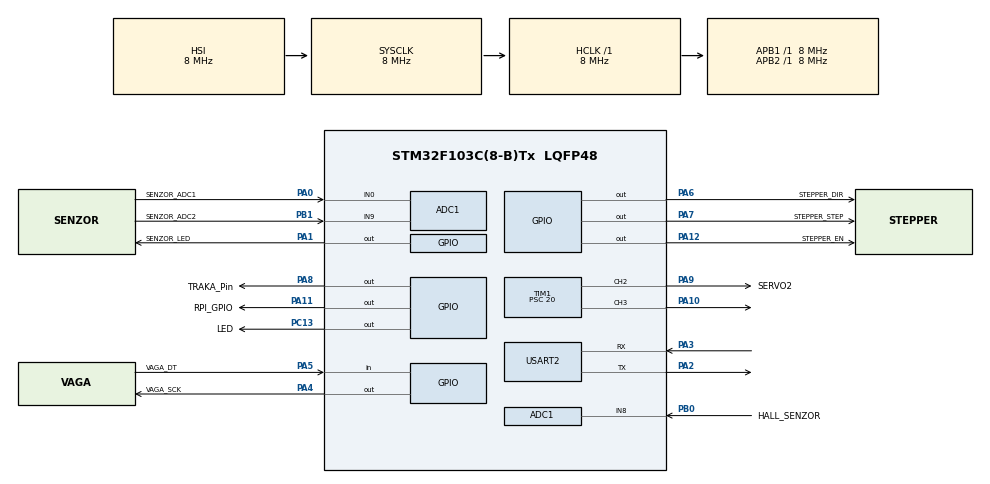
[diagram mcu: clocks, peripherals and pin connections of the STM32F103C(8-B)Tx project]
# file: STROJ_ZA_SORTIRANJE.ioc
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ADC1.Channel-0\#ChannelRegularConversion=ADC_CHANNEL_0
ADC1.Channel-1\#ChannelRegularConversion=ADC_CHANNEL_8
ADC1.Channel-2\#ChannelRegularConversion=ADC_CHANNEL_9
ADC1.ContinuousConvMode=ENABLE
ADC1.NbrOfConversion=3
ADC1.NbrOfConversionFlag=1
ADC1.Rank-0\#ChannelRegularConversion=1
ADC1.Rank-1\#ChannelRegularConversion=2
ADC1.Rank-2\#ChannelRegularConversion=3
ADC1.SamplingTime-0\#ChannelRegularConversion=ADC_SAMPLETIME_1CYCLE_5
ADC1.SamplingTime-1\#ChannelRegularConversion=ADC_SAMPLETIME_1CYCLE_5
ADC1.SamplingTime-2\#ChannelRegularConversion=ADC_SAMPLETIME_1CYCLE_5
ADC1.master=1
Mcu.Family=STM32F1
Mcu.Name=STM32F103C(8-B)Tx
Mcu.Package=LQFP48
NVIC.PriorityGroup=NVIC_PRIORITYGROUP_4
NVIC.USART2_IRQn=true\:0\:0\:false\:false\:true\:true\:true
PA0-WKUP.GPIO_Label=SENZOR_ADC1
PA0-WKUP.Signal=ADCx_IN0
PA1.GPIO_Label=SENZOR_LED
PA1.Signal=GPIO_Output
PA10.Signal=S_TIM1_CH3
PA11.GPIO_Label=RPI_GPIO
PA11.Signal=GPIO_Output
PA12.GPIO_Label=STEPPER_EN
PA12.Signal=GPIO_Output
PA13.Mode=Serial_Wire
PA13.Signal=SYS_JTMS-SWDIO
PA14.Mode=Serial_Wire
PA14.Signal=SYS_JTCK-SWCLK
PA2.Mode=Asynchronous
PA2.Signal=USART2_TX
PA3.Mode=Asynchronous
PA3.Signal=USART2_RX
PA4.GPIO_Label=VAGA_SCK
PA4.Signal=GPIO_Output
PA5.GPIO_Label=VAGA_DT
PA5.GPIO_PuPd=GPIO_NOPULL
PA5.Signal=GPIO_Input
PA6.GPIO_Label=STEPPER_DIR
PA6.Signal=GPIO_Output
PA7.GPIO_Label=STEPPER_STEP
PA7.Signal=GPIO_Output
PA8.GPIO_Label=TRAKA_Pin
PA8.Signal=GPIO_Output
PA9.GPIO_Label=SERVO2
PA9.GPIO_Speed=GPIO_SPEED_FREQ_HIGH
PA9.Signal=S_TIM1_CH2
PB0.GPIO_Label=HALL_SENZOR
PB0.Signal=ADCx_IN8
PB1.GPIO_Label=SENZOR_ADC2
PB1.Signal=ADCx_IN9
PC13-TAMPER-RTC.GPIO_Label=LED
PC13-TAMPER-RTC.Signal=GPIO_Output
ProjectManager.HeapSize=0x200
ProjectManager.StackSize=0x400
ProjectManager.TargetToolchain=TrueSTUDIO
RCC.AHBFreq_Value=8000000
RCC.APB1Freq_Value=8000000
RCC.APB1TimFreq_Value=8000000
RCC.APB2Freq_Value=8000000
RCC.APB2TimFreq_Value=8000000
RCC.HCLKFreq_Value=8000000
RCC.SYSCLKFreq_VALUE=8000000
RCC.USBFreq_Value=8000000
SH.ADCx_IN0.0=ADC1_IN0,IN0
SH.ADCx_IN8.0=ADC1_IN8,IN8
SH.ADCx_IN9.0=ADC1_IN9,IN9
SH.S_TIM1_CH2.0=TIM1_CH2,PWM Generation2 CH2
SH.S_TIM1_CH3.0=TIM1_CH3,PWM Generation3 CH3
TIM1.AutoReloadPreload=TIM_AUTORELOAD_PRELOAD_DISABLE
TIM1.Channel-PWM\ Generation2\ CH2=TIM_CHANNEL_2
TIM1.Channel-PWM\ Generation3\ CH3=TIM_CHANNEL_3
TIM1.Period=7656
TIM1.Prescaler=20
USART2.VirtualMode=VM_ASYNC
VP_TIM1_VS_ClockSourceINT.Mode=Internal
board=custom

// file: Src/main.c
/* USER CODE BEGIN Header */
/**
 ******************************************************************************
 * @file           : main.c
 * @brief          : Main program body
 ******************************************************************************
 * @attention
 *
 * <h2><center>&copy; Copyright (c) 2019 STMicroelectronics.
 * All rights reserved.</center></h2>
 *
 * This software component is licensed by ST under BSD 3-Clause license,
 * the "License"; You may not use this file except in compliance with the
 * License. You may obtain a copy of the License at:
 *                        opensource.org/licenses/BSD-3-Clause
 *
 ******************************************************************************
 */
/* USER CODE END Header */

#include "main.h"

/* USER CODE BEGIN Includes */

/* za printf */
#ifdef __GNUC__
#define PUTCHAR_PROTOTYPE int __io_putchar(int ch)
#else
#define PUTCHAR_PROTOTYPE int fputc(int ch,FILE *f)
#endif

/* USER CODE END Includes */

/* USER CODE BEGIN PD */
#define PRVI_SENZOR 3800 //vrijednost kada ima predmeta ispred senzora( kada nema onda je manja vrijednost)( razlika ima-nema oko 300)
#define DRUGI_SENZOR 3800  //vrijednost kada ima predmeta ispred drugog senzora(veca razlika ima nema)
//da bi provjerili jel ima predmet uvjet je da je adc_vrijednost veca od pragova

//driver je u half step modu pa teba 2 puta više koraka za krug ==>>2*200=400 koraka
#define BROJ_KORAKAK_ZA_KRUG 400  //definiramo koliko stepper motor mora napraviti koraka da bi obišao jedan krug
/* USER CODE END PD */

ADC_HandleTypeDef hadc1;

TIM_HandleTypeDef htim1;

UART_HandleTypeDef huart2;

/* USER CODE BEGIN PV */
volatile uint8_t rx_buff[32];
uint8_t tx_buff[2];
volatile uint8_t msg_protocol[32];
volatile uint8_t det_obj_buff[3];
volatile uint8_t sys_flag = 0;
volatile uint8_t sys_flag_changed = 0;

//varijable za senzore na traci i hall senzor za spremnike
//val1 je senzor na kraju trake( kod motora) i on je na ADC1_CH0 pin PA0
//val2 je senzor na pocetku i on je spojen na ADC1_CH9 pin PB1
//hall senzor je spojen na ADC1_CH8 pin PB0
uint32_t val1, val2, hall_val;

//faktor za vagu koji treba podesiti da bi dobro vagala( za svaki load cell drugaciji)
float calibration_factor = -900;
long OFFSET = 0;
float SCALE = 1;
int stepperPosition = 0;

struct Osobine {
	char oblik;
	char boja;
	int masa;
	int min_masa;
	int max_masa;
	int broj_poklapanja;
	int broj_omogucenih;
};

struct Osobine Predmet;
struct Osobine Spremnik[3];

//enum za pwm signal
typedef enum {
	PWM1 = TIM_CHANNEL_1,
	PWM2 = TIM_CHANNEL_2,
	PWM3 = TIM_CHANNEL_3,
	PWM4 = TIM_CHANNEL_4,

} PWM_CHANNEL;

/* USER CODE END PV */

void SystemClock_Config(void);
static void MX_GPIO_Init(void);
static void MX_ADC1_Init(void);
static void MX_TIM1_Init(void);
static void MX_USART2_UART_Init(void);
/* USER CODE BEGIN PFP */

//funkcija za parsiranje podataka za spremnike
void Parse_spremnik();

//funkcija za parsiranje podataka o slikanom predmetu
void Parse_predmet();

int CharToInt3(int n, uint8_t* Polje);
int CharToInt4(int n, uint8_t* Polje);

/*prototip funkcije za analizu predmeta
 *funkcija prema definiranim osobinama spremnika i predmeta sprema u varijablu odabrani_spremnik
 *prema cemu se poklapa svaki spremnik sa trenutnim predmetom(boja, masa i oblik)
 *i onda samo treba vidjeti u toj varijabli koji spremnik ima najviše poklapanja i staviti predmet u njega
 */
void Analiza_predmeta(void);

//funkcija koja ovisno o tome koji spremnik ima najviše ispunjenih uvjeta odabire jedan spremnik za trenutni predmet
int Odabir_spremnika(void);

/*funkcije za vagu*/
int HX711_read(void);
long HX711_read_average(int times);
double HX711_get_value(int times);
float HX711_get_units(int times);
void HX711_set_offset(long offset);
void HX711_set_scale(float scale);
void HX711_Tare(int times);

/*funkcije za stepper motor*/
void Stepper_Step(int step, int dir);

//funkcija za servo motor, timer je za koji timer postavljamo pwm, a kut je kut motora
void Servo_motor(PWM_CHANNEL PWM_CH, int kut);
//funkcija koja pomice predmet iz cijevi na vagu.
void Pomakni_na_vagu(void);
//gurne predmet sa vage u spremnik
void Makni_sa_vage(void);
//funkcija koja postavlja spremnik koji joj predamo kao argument
void Postavi_spremnik(int spremnik);

//funkcija koja namje�ta spremnik na prvu posudu
void Spremnik_zero(void);

uint32_t analogRead(uint8_t channel);

/* USER CODE END PFP */

int main(void) {

	/* MCU Configuration--------------------------------------------------------*/

	/* Reset of all peripherals, Initializes the Flash interface and the Systick. */
	HAL_Init();

	/* Configure the system clock */
	SystemClock_Config();

	/* Initialize all configured peripherals */
	MX_GPIO_Init();
	MX_ADC1_Init();
	MX_TIM1_Init();
	MX_USART2_UART_Init();
	/* USER CODE BEGIN 2 */
	__HAL_UART_ENABLE_IT(&huart2, UART_IT_RXNE); // <-------- ENABLE RXNE

	HX711_set_scale(1);
	HX711_Tare(10);
	HX711_set_scale(calibration_factor);

	//kod za pokretanje TIM1 i PWM signala
	HAL_TIM_Base_Start(&htim1);
	HAL_TIM_PWM_Start(&htim1, TIM_CHANNEL_2); //Start Pwm signal on PA-9 Pin
	HAL_TIM_PWM_Start(&htim1, TIM_CHANNEL_3); //Start Pwm signal on PA-10 Pin

	//postavljamo servo motore na pozicije u kojima miruju
	Servo_motor(PWM2, 0);
	Servo_motor(PWM3, 50);

	HAL_GPIO_WritePin(GPIOC, LED_Pin, SET);
	HAL_GPIO_WritePin(GPIOA, STEPPER_EN_Pin, SET);
	sys_flag = 0;
	//printf("POCETAK WHILE PETLJE\n\n");
	/* USER CODE END 2 */

	/* Infinite loop */
	/* USER CODE BEGIN WHILE */
	while (1) {

		//glavni kod
		if (sys_flag_changed) {
			Spremnik_zero();
			Parse_spremnik();
			sys_flag_changed = 0;
			HAL_GPIO_WritePin(GPIOA, SENZOR_LED_Pin, RESET);
		}
		//------------------------------SORTIRANJE PREDMETA----------------------------
		if (sys_flag == 1) {
			HAL_GPIO_WritePin(GPIOA, SENZOR_LED_Pin, SET);
			//ocitava vrijednost senzora te ako ima predmeta na traci krene raditi

			val1 = analogRead(0);
			HAL_Delay(100);
			val2 = analogRead(9);

			if ((val1 > PRVI_SENZOR) || (val2 > DRUGI_SENZOR)) {
				Servo_motor(PWM3, 110);
				HAL_Delay(400);
				HAL_GPIO_WritePin(GPIOA, TRAKA_Pin_Pin, SET);
				HAL_Delay(3000);
				HAL_GPIO_WritePin(GPIOA, TRAKA_Pin_Pin, RESET);
				Pomakni_na_vagu();

				//vaganje i slanje signala rpi za slikanje
				Predmet.masa = HX711_get_units(10);
				sprintf(tx_buff,"%.2d", Predmet.masa);
				HAL_UART_Transmit(&huart2,tx_buff,sizeof(tx_buff),100);
				//printf("%d\n", Predmet.masa);
				HAL_Delay(500);
				HAL_GPIO_WritePin(GPIOA, RPI_GPIO_Pin, SET);
				HAL_Delay(1000);
				HAL_GPIO_WritePin(GPIOA, RPI_GPIO_Pin, RESET);
				while (det_obj_buff[2] != '#')
					;
				Parse_predmet();
				Analiza_predmeta();
				int sprem = Odabir_spremnika();
				Postavi_spremnik(sprem);
				Makni_sa_vage();
			}
		}
		//----------------------------ANALIZA PREDMETA----------------------
		else if (sys_flag == 2) {
			//printf("\tUnutar sys_flag==2 if uvjeta\n\n");
			HAL_GPIO_WritePin(GPIOA, SENZOR_LED_Pin, SET);
			val1 = analogRead(0);
			HAL_Delay(100);
			val2 = analogRead(9);
			HAL_Delay(100);
			if ((val1 > PRVI_SENZOR) || (val2 > DRUGI_SENZOR)) {
				Servo_motor(PWM3, 110);
				HAL_Delay(400);
				HAL_GPIO_WritePin(GPIOA, TRAKA_Pin_Pin, SET);
				HAL_Delay(4000);
				Pomakni_na_vagu();
				HAL_GPIO_WritePin(GPIOA, TRAKA_Pin_Pin, RESET);
				HAL_Delay(200);

				//vaganje i slanje signala rpi za slikanje
				Predmet.masa = HX711_get_units(10);
				//printf("%d\n", Predmet.masa);
				sprintf(tx_buff,"%.2d", Predmet.masa);
				HAL_UART_Transmit(&huart2,tx_buff,sizeof(tx_buff),100);
				HAL_Delay(500);
				HAL_GPIO_WritePin(GPIOA, RPI_GPIO_Pin, SET);
				HAL_Delay(1000);
				HAL_GPIO_WritePin(GPIOA, RPI_GPIO_Pin, RESET);
				while (det_obj_buff[2] != '#')
					;
				Postavi_spremnik(1);
				//izbrise vrijednost iz spremnika za drugi predmet kada dodje
				det_obj_buff[2] = 0;
				Makni_sa_vage();
			}

		}

		/* USER CODE END WHILE */

	}
}

void SystemClock_Config(void) {
	RCC_OscInitTypeDef RCC_OscInitStruct = { 0 };
	RCC_ClkInitTypeDef RCC_ClkInitStruct = { 0 };
	RCC_PeriphCLKInitTypeDef PeriphClkInit = { 0 };

	/** Initializes the CPU, AHB and APB busses clocks
	 */
	RCC_OscInitStruct.OscillatorType = RCC_OSCILLATORTYPE_HSI;
	RCC_OscInitStruct.HSIState = RCC_HSI_ON;
	RCC_OscInitStruct.HSICalibrationValue = RCC_HSICALIBRATION_DEFAULT;
	RCC_OscInitStruct.PLL.PLLState = RCC_PLL_NONE;
	if (HAL_RCC_OscConfig(&RCC_OscInitStruct) != HAL_OK) {
		Error_Handler();
	}
	/** Initializes the CPU, AHB and APB busses clocks
	 */
	RCC_ClkInitStruct.ClockType = RCC_CLOCKTYPE_HCLK | RCC_CLOCKTYPE_SYSCLK
			| RCC_CLOCKTYPE_PCLK1 | RCC_CLOCKTYPE_PCLK2;
	RCC_ClkInitStruct.SYSCLKSource = RCC_SYSCLKSOURCE_HSI;
	RCC_ClkInitStruct.AHBCLKDivider = RCC_SYSCLK_DIV1;
	RCC_ClkInitStruct.APB1CLKDivider = RCC_HCLK_DIV1;
	RCC_ClkInitStruct.APB2CLKDivider = RCC_HCLK_DIV1;

	if (HAL_RCC_ClockConfig(&RCC_ClkInitStruct, FLASH_LATENCY_0) != HAL_OK) {
		Error_Handler();
	}
	PeriphClkInit.PeriphClockSelection = RCC_PERIPHCLK_ADC;
	PeriphClkInit.AdcClockSelection = RCC_ADCPCLK2_DIV2;
	if (HAL_RCCEx_PeriphCLKConfig(&PeriphClkInit) != HAL_OK) {
		Error_Handler();
	}
}

static void MX_ADC1_Init(void) {

	ADC_ChannelConfTypeDef sConfig = {0};

	/** Common config
	 */
	hadc1.Instance = ADC1;
	hadc1.Init.ScanConvMode = ADC_SCAN_DISABLE;
	hadc1.Init.ContinuousConvMode = DISABLE;
	hadc1.Init.DiscontinuousConvMode = DISABLE;
	hadc1.Init.ExternalTrigConv = ADC_SOFTWARE_START;
	hadc1.Init.DataAlign = ADC_DATAALIGN_RIGHT;
	hadc1.Init.NbrOfConversion = 1;
	if (HAL_ADC_Init(&hadc1) != HAL_OK) {
		Error_Handler();
	}
	/** Configure Regular Channel
	 */
	sConfig.Channel = ADC_CHANNEL_0;
	sConfig.Rank = ADC_REGULAR_RANK_1;
	sConfig.SamplingTime = ADC_SAMPLETIME_41CYCLES_5;
	if (HAL_ADC_ConfigChannel(&hadc1, &sConfig) != HAL_OK) {
		Error_Handler();
	}

}

static void MX_TIM1_Init(void) {

	TIM_ClockConfigTypeDef sClockSourceConfig = { 0 };
	TIM_MasterConfigTypeDef sMasterConfig = { 0 };
	TIM_OC_InitTypeDef sConfigOC = { 0 };
	TIM_BreakDeadTimeConfigTypeDef sBreakDeadTimeConfig = { 0 };

	htim1.Instance = TIM1;
	htim1.Init.Prescaler = 20;
	htim1.Init.CounterMode = TIM_COUNTERMODE_UP;
	htim1.Init.Period = 7656;
	htim1.Init.ClockDivision = TIM_CLOCKDIVISION_DIV1;
	htim1.Init.RepetitionCounter = 0;
	htim1.Init.AutoReloadPreload = TIM_AUTORELOAD_PRELOAD_DISABLE;
	if (HAL_TIM_Base_Init(&htim1) != HAL_OK) {
		Error_Handler();
	}
	sClockSourceConfig.ClockSource = TIM_CLOCKSOURCE_INTERNAL;
	if (HAL_TIM_ConfigClockSource(&htim1, &sClockSourceConfig) != HAL_OK) {
		Error_Handler();
	}
	if (HAL_TIM_PWM_Init(&htim1) != HAL_OK) {
		Error_Handler();
	}
	sMasterConfig.MasterOutputTrigger = TIM_TRGO_RESET;
	sMasterConfig.MasterSlaveMode = TIM_MASTERSLAVEMODE_DISABLE;
	if (HAL_TIMEx_MasterConfigSynchronization(&htim1, &sMasterConfig)
			!= HAL_OK) {
		Error_Handler();
	}
	sConfigOC.OCMode = TIM_OCMODE_PWM1;
	sConfigOC.Pulse = 0;
	sConfigOC.OCPolarity = TIM_OCPOLARITY_HIGH;
	sConfigOC.OCNPolarity = TIM_OCNPOLARITY_HIGH;
	sConfigOC.OCFastMode = TIM_OCFAST_DISABLE;
	sConfigOC.OCIdleState = TIM_OCIDLESTATE_RESET;
	sConfigOC.OCNIdleState = TIM_OCNIDLESTATE_RESET;
	if (HAL_TIM_PWM_ConfigChannel(&htim1, &sConfigOC, TIM_CHANNEL_2)
			!= HAL_OK) {
		Error_Handler();
	}
	if (HAL_TIM_PWM_ConfigChannel(&htim1, &sConfigOC, TIM_CHANNEL_3)
			!= HAL_OK) {
		Error_Handler();
	}
	sBreakDeadTimeConfig.OffStateRunMode = TIM_OSSR_DISABLE;
	sBreakDeadTimeConfig.OffStateIDLEMode = TIM_OSSI_DISABLE;
	sBreakDeadTimeConfig.LockLevel = TIM_LOCKLEVEL_OFF;
	sBreakDeadTimeConfig.DeadTime = 0;
	sBreakDeadTimeConfig.BreakState = TIM_BREAK_DISABLE;
	sBreakDeadTimeConfig.BreakPolarity = TIM_BREAKPOLARITY_HIGH;
	sBreakDeadTimeConfig.AutomaticOutput = TIM_AUTOMATICOUTPUT_DISABLE;
	if (HAL_TIMEx_ConfigBreakDeadTime(&htim1, &sBreakDeadTimeConfig)
			!= HAL_OK) {
		Error_Handler();
	}
	HAL_TIM_MspPostInit(&htim1);

}

static void MX_USART2_UART_Init(void) {

	huart2.Instance = USART2;
	huart2.Init.BaudRate = 115200;
	huart2.Init.WordLength = UART_WORDLENGTH_8B;
	huart2.Init.StopBits = UART_STOPBITS_1;
	huart2.Init.Parity = UART_PARITY_NONE;
	huart2.Init.Mode = UART_MODE_TX_RX;
	huart2.Init.HwFlowCtl = UART_HWCONTROL_NONE;
	huart2.Init.OverSampling = UART_OVERSAMPLING_16;
	if (HAL_UART_Init(&huart2) != HAL_OK) {
		Error_Handler();
	}

}

static void MX_GPIO_Init(void) {
	GPIO_InitTypeDef GPIO_InitStruct = { 0 };

	/* GPIO Ports Clock Enable */
	__HAL_RCC_GPIOC_CLK_ENABLE()
	;
	__HAL_RCC_GPIOA_CLK_ENABLE()
	;
	__HAL_RCC_GPIOB_CLK_ENABLE()
	;

	/*Configure GPIO pin Output Level */
	HAL_GPIO_WritePin(LED_GPIO_Port, LED_Pin, GPIO_PIN_RESET);

	/*Configure GPIO pin Output Level */
	HAL_GPIO_WritePin(GPIOA,
			SENZOR_LED_Pin | VAGA_SCK_Pin | STEPPER_DIR_Pin | STEPPER_STEP_Pin
					| TRAKA_Pin_Pin | RPI_GPIO_Pin | STEPPER_EN_Pin,
			GPIO_PIN_RESET);

	/*Configure GPIO pin : LED_Pin */
	GPIO_InitStruct.Pin = LED_Pin;
	GPIO_InitStruct.Mode = GPIO_MODE_OUTPUT_PP;
	GPIO_InitStruct.Pull = GPIO_NOPULL;
	GPIO_InitStruct.Speed = GPIO_SPEED_FREQ_LOW;
	HAL_GPIO_Init(LED_GPIO_Port, &GPIO_InitStruct);

	/*Configure GPIO pins : SENZOR_LED_Pin VAGA_SCK_Pin STEPPER_DIR_Pin STEPPER_STEP_Pin
	 TRAKA_Pin_Pin RPI_GPIO_Pin STEPPER_EN_Pin */
	GPIO_InitStruct.Pin = SENZOR_LED_Pin | VAGA_SCK_Pin | STEPPER_DIR_Pin
			| STEPPER_STEP_Pin | RPI_GPIO_Pin | STEPPER_EN_Pin;
	GPIO_InitStruct.Mode = GPIO_MODE_OUTPUT_PP;
	GPIO_InitStruct.Pull = GPIO_NOPULL;
	GPIO_InitStruct.Speed = GPIO_SPEED_FREQ_LOW;
	HAL_GPIO_Init(GPIOA, &GPIO_InitStruct);

	GPIO_InitStruct.Pin =  TRAKA_Pin_Pin;
	GPIO_InitStruct.Mode = GPIO_MODE_OUTPUT_PP;
	GPIO_InitStruct.Pull = GPIO_PULLDOWN;
	GPIO_InitStruct.Speed = GPIO_SPEED_FREQ_LOW;
	HAL_GPIO_Init(GPIOA, &GPIO_InitStruct);

	/*Configure GPIO pin : VAGA_DT_Pin */
	GPIO_InitStruct.Pin = VAGA_DT_Pin;
	GPIO_InitStruct.Mode = GPIO_MODE_INPUT;
	GPIO_InitStruct.Pull = GPIO_NOPULL;
	HAL_GPIO_Init(VAGA_DT_GPIO_Port, &GPIO_InitStruct);

}

/* USER CODE BEGIN 4 */

//funkcija za parsiranje podataka za spremnike
void Parse_spremnik() {

	Spremnik[0].broj_omogucenih=0;
	Spremnik[1].broj_omogucenih=0;
	Spremnik[2].broj_omogucenih=0;

	for (int j = 0; j < 3; j++) {
		Spremnik[j].oblik = msg_protocol[(10 * j + 1)];
		Spremnik[j].boja = msg_protocol[(10 * j + 2)];
		Spremnik[j].min_masa = CharToInt3((10 * j + 3), msg_protocol);
		Spremnik[j].max_masa = CharToInt4((10 * j + 6), msg_protocol);
		if (Spremnik[j].oblik != '0') {
			Spremnik[j].broj_omogucenih++;
		}
		if (Spremnik[j].boja != '0') {
			Spremnik[j].broj_omogucenih++;
		}
		if (Spremnik[j].max_masa != 0) {
			Spremnik[j].broj_omogucenih++;
		}
	}

}

//funkcija za parsiranje podataka o slikanom predmetu
void Parse_predmet() {
	Predmet.boja = det_obj_buff[0];
	Predmet.oblik = det_obj_buff[1];
	det_obj_buff[2] = 0;

}
int CharToInt3(int n, uint8_t* Polje) {
	int broj = 0;
	for (int i = 0; i < 3; i++) {
		if (i == 0 && Polje[n] != '0') {
			broj = (Polje[n] - 48) * 100;
		} else if (i == 1) {
			broj += (Polje[n + 1] - 48) * 10;
		} else if (i == 2) {
			broj += (Polje[n + 2] - 48);
		}
	}
	return broj;

}
int CharToInt4(int n, uint8_t* Polje) {
	int broj = 0;
	for (int i = 0; i < 4; i++) {
		if (i == 0 && Polje[n] != '0') {
			broj = (Polje[n] - 48) * 1000;
		} else if (i == 1) {
			broj += (Polje[n + 1] - 48) * 100;
		} else if (i == 2) {
			broj += (Polje[n + 2] - 48) * 10;
		} else if (i == 3) {
			broj += (Polje[n + 3] - 48);
		}
	}
	return broj;
}

//funkcija za analizu kriteriaj za svaki spremnik i trenutni predmet-----------------------------------
void Analiza_predmeta(void) {
	int i = 0;
	Spremnik[0].broj_poklapanja = 0;
	Spremnik[1].broj_poklapanja = 0;
	Spremnik[2].broj_poklapanja = 0;
	for (i = 0; i < 3; i++) {
		if (Spremnik[i].boja == Predmet.boja) {
			Spremnik[i].broj_poklapanja++;
		}
		if (Spremnik[i].oblik == Predmet.oblik) {
			Spremnik[i].broj_poklapanja++;
		}
		if (Spremnik[i].max_masa >= Predmet.masa
				&& Predmet.masa >= Spremnik[i].min_masa) {
			Spremnik[i].broj_poklapanja++;
		}
	}
}

//funkcija za odabir spremnika------------------ODABIR SPREMNIKA----------------------------------------
int Odabir_spremnika() {
	int max_poklapanja = 0;
	int index = 0;
	for (int i = 0; i < 3; i++) {
		if (Spremnik[i].broj_omogucenih <= Spremnik[i].broj_poklapanja)
			if (Spremnik[i].broj_poklapanja > max_poklapanja) {
				max_poklapanja = Spremnik[i].broj_poklapanja;
				index = i + 1;
			}
	}
	if (index == 0) {
		index = 4;
	}

	return index;
}

//FUNKCIJE ZA VAGU----------------------------------VAGA------------------------------------------
int HX711_read(void) {
	int buffer;
	buffer = 0;

	while (HAL_GPIO_ReadPin(GPIOA, VAGA_DT_Pin) == 1)
		;

	for (uint8_t i = 0; i < 24; i++) {
		HAL_GPIO_WritePin(GPIOA, VAGA_SCK_Pin, GPIO_PIN_SET);

		buffer = buffer << 1;

		if (HAL_GPIO_ReadPin(GPIOA, VAGA_DT_Pin)) {
			buffer++;
		}

		HAL_GPIO_WritePin(GPIOA, VAGA_SCK_Pin, GPIO_PIN_RESET);
	}

	for (int i = 0; i < 1; i++) {
		HAL_GPIO_WritePin(GPIOA, VAGA_SCK_Pin, GPIO_PIN_SET);
		HAL_GPIO_WritePin(GPIOA, VAGA_SCK_Pin, GPIO_PIN_RESET);
	}

	buffer = buffer ^ 0x800000;

	return buffer;
}

long HX711_read_average(int times) {
	long sum = 0;
	for (int i = 0; i < times; i++) {
		sum += HX711_read();
	}

	return sum / times;
}
double HX711_get_value(int times) {
	return HX711_read_average(times) - OFFSET;
}

float HX711_get_units(int times) {
	return HX711_get_value(times) / SCALE;
}

void HX711_set_offset(long offset) {
	OFFSET = offset;
}

void HX711_set_scale(float scale) {
	SCALE = scale;
}

void HX711_Tare(int times) {
	double sum = HX711_read_average(times);

	HX711_set_offset(sum);
}

//funkcija za stepper motor-------------------------STEPPER-------------------------------
void Stepper_Step(int step, int dir) {
	HAL_GPIO_WritePin(GPIOA, STEPPER_EN_Pin, RESET);
	HAL_Delay(500);
	if (dir == 1) {
		HAL_GPIO_WritePin(GPIOA, STEPPER_DIR_Pin, GPIO_PIN_SET);
	} else {
		HAL_GPIO_WritePin(GPIOA, STEPPER_DIR_Pin, GPIO_PIN_RESET);
	}
	for (int i = 0; i < step; i++) {
		HAL_GPIO_WritePin(GPIOA, STEPPER_STEP_Pin, GPIO_PIN_SET);
		HAL_Delay(4);
		HAL_GPIO_WritePin(GPIOA, STEPPER_STEP_Pin, GPIO_PIN_RESET);
		HAL_Delay(4);
	}
	HAL_Delay(500);
	HAL_GPIO_WritePin(GPIOA, STEPPER_EN_Pin, SET);
}

void Servo_motor(PWM_CHANNEL PWM_CH, int kut) {
	float stupnjevi = ((7656 / 1800.0) * (kut + 45.0));
	__HAL_TIM_SET_COMPARE(&htim1, PWM_CH, (stupnjevi)); //180 stupnjeva 8000*0,125
}

void Pomakni_na_vagu() {
	Servo_motor(PWM3, 0);
	HAL_Delay(2000);
	Servo_motor(PWM3, 50);
	HAL_Delay(1000);
	//Servo_motor(PWM3, 80);
	//HAL_Delay(1000);
}
void Makni_sa_vage() {
	Servo_motor(PWM2, 10);
	HAL_Delay(300);
	Servo_motor(PWM2, 25);
	HAL_Delay(300);
	Servo_motor(PWM2, 40);
	HAL_Delay(300);
	Servo_motor(PWM2, 55);
	HAL_Delay(300);
	Servo_motor(PWM2, 70);
	HAL_Delay(300);
	Servo_motor(PWM2, 80);
	HAL_Delay(300);
	Servo_motor(PWM2, 0);
	HAL_Delay(1000);
}
void Postavi_spremnik(int spremnik) {

	switch (spremnik) {
	case 1:
		if (stepperPosition == 2) {
			Stepper_Step((BROJ_KORAKAK_ZA_KRUG / 4), 0);
		} else if (stepperPosition == 3) {
			Stepper_Step((BROJ_KORAKAK_ZA_KRUG / 2), 0);
		} else if (stepperPosition == 4) {
			Stepper_Step(((BROJ_KORAKAK_ZA_KRUG / 4) * 3), 0);
		}
		stepperPosition = 1;
		break;
	case 2:
		if (stepperPosition == 1) {
			Stepper_Step(((BROJ_KORAKAK_ZA_KRUG / 4) * 3), 0);
		} else if (stepperPosition == 3) {
			Stepper_Step((BROJ_KORAKAK_ZA_KRUG / 4), 0);
		} else if (stepperPosition == 4) {
			Stepper_Step((BROJ_KORAKAK_ZA_KRUG / 2), 0);
		}
		stepperPosition = 2;
		break;
	case 3:
		if (stepperPosition == 1) {
			Stepper_Step((BROJ_KORAKAK_ZA_KRUG / 2), 0);
		} else if (stepperPosition == 2) {
			Stepper_Step(((BROJ_KORAKAK_ZA_KRUG / 4) * 3), 0);
		} else if (stepperPosition == 4) {
			Stepper_Step((BROJ_KORAKAK_ZA_KRUG / 4), 0);
		}
		stepperPosition = 3;
		break;
	case 4:
		if (stepperPosition == 1) {
			Stepper_Step((BROJ_KORAKAK_ZA_KRUG / 4), 0);
		} else if (stepperPosition == 2) {
			Stepper_Step((BROJ_KORAKAK_ZA_KRUG / 2), 0);
		} else if (stepperPosition == 3) {
			Stepper_Step(((BROJ_KORAKAK_ZA_KRUG / 4) * 3), 0);
		}
		stepperPosition = 4;
		break;
	}

}

//funkcija za postaavljanje prvog spremnika
void Spremnik_zero() {
	if (stepperPosition != 1) {
		HAL_GPIO_WritePin(GPIOA, STEPPER_EN_Pin, RESET);
		HAL_GPIO_WritePin(GPIOA, STEPPER_DIR_Pin, GPIO_PIN_RESET);

		hall_val = analogRead(8);

		while (hall_val > 10) {
			HAL_GPIO_WritePin(GPIOA, STEPPER_STEP_Pin, GPIO_PIN_SET);
			HAL_Delay(8);
			HAL_GPIO_WritePin(GPIOA, STEPPER_STEP_Pin, GPIO_PIN_RESET);
			HAL_Delay(8);
			//HAL_Delay(5);
			hall_val = analogRead(8);
		}
		HAL_Delay(500);
		stepperPosition = 1;
	}
	HAL_GPIO_WritePin(GPIOA, STEPPER_EN_Pin, SET);
}

uint32_t analogRead(uint8_t channel)
{
	ADC_ChannelConfTypeDef adc_config = {
			.Rank = ADC_REGULAR_RANK_1,
			.SamplingTime = ADC_SAMPLETIME_41CYCLES_5
	};
	uint32_t retVal = 0;

	switch(channel){
	case 0:
		adc_config.Channel = ADC_CHANNEL_0;
		if (HAL_ADC_ConfigChannel(&hadc1, &adc_config) != HAL_OK)
		{
			Error_Handler();
		}
		break;
//	case 1:
//	case 2:
//	case 3:
//	case 4:
//	case 5:
//	case 6:
//	case 7:
	case 8:
		adc_config.Channel = ADC_CHANNEL_8;
		if (HAL_ADC_ConfigChannel(&hadc1, &adc_config) != HAL_OK)
		{
			Error_Handler();
		}
		break;
	case 9:
		adc_config.Channel = ADC_CHANNEL_9;
		if (HAL_ADC_ConfigChannel(&hadc1, &adc_config) != HAL_OK)
		{
			Error_Handler();
		}
		break;
	}

	HAL_ADC_Start(&hadc1);
	HAL_ADC_PollForConversion(&hadc1,100);
	retVal = HAL_ADC_GetValue(&hadc1);
	HAL_ADC_Stop(&hadc1);

	return retVal;
}

PUTCHAR_PROTOTYPE {
	/* Place your implementation of fputc here */
	/* e.g. write a character to the EVAL_COM1 and Loop until the end of
	 transmission */
	HAL_UART_Transmit(&huart2, (uint8_t*) &ch, 1, 0xFFFF);
	return ch;
}

/* USER CODE END 4 */

void Error_Handler(void) {
}

/************************ (C) COPYRIGHT STMicroelectronics *****END OF FILE****/
